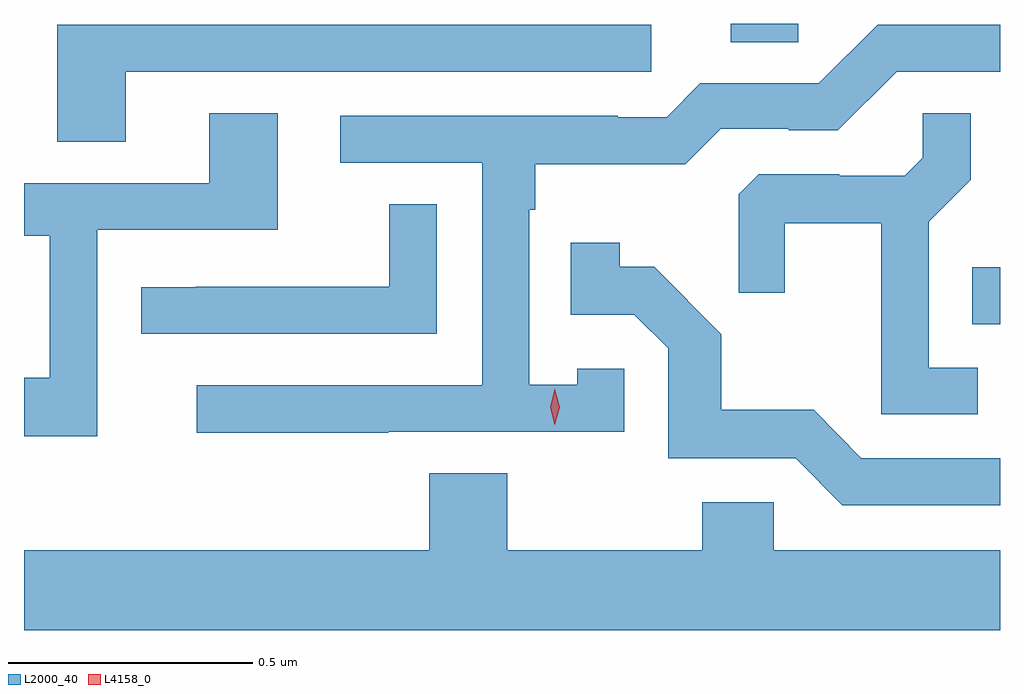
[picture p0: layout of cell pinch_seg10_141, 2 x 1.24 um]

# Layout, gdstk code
import gdstk
lib = gdstk.Library(unit=1e-6, precision=1e-09)
def R(c, l, rs):  # rectangles x0, y0, x1, y1
    for r in rs: c.add(gdstk.rectangle(r[:2], r[2:], *l))
def P(c, l, *ps):  # polygons
    for p in ps: c.add(gdstk.Polygon(p, *l))
L2000_40 = (2000, 40)
L4158_0 = (4158, 0)

pinch_seg10_141 = lib.new_cell('pinch_seg10_141')
R(pinch_seg10_141, L2000_40, [(702.932,1280.963,702.989,1281.079), (702.437,1281.541,702.576,1281.578)])
P(pinch_seg10_141, L2000_40, [(701.735,1280.742),(702.219,1280.742),(702.219,1280.871),(702.123,1280.871),(702.123,1280.839),(702.024,1280.839),(702.024,1281.197),(702.037,1281.197),(702.037,1281.29),(702.344,1281.29),(702.417,1281.363),(702.556,1281.363),(702.556,1281.36),(702.657,1281.36),(702.777,1281.48),(702.989,1281.48),(702.989,1281.576),(702.738,1281.576),(702.618,1281.456),(702.375,1281.456),(702.306,1281.387),(702.206,1281.387),(702.206,1281.39),(701.637,1281.39),(701.637,1281.294),(701.928,1281.294),(701.928,1280.838),(701.343,1280.838),(701.343,1280.74),(701.735,1280.74)],
  [(701.197,1281.48),(702.274,1281.48),(702.274,1281.576),(701.057,1281.576),(701.057,1281.337),(701.197,1281.337)],
  [(702.943,1280.874),(702.843,1280.874),(702.843,1281.173),(702.929,1281.259),(702.929,1281.395),(702.831,1281.395),(702.831,1281.304),(702.794,1281.267),(702.66,1281.267),(702.66,1281.27),(702.495,1281.27),(702.454,1281.229),(702.454,1281.027),(702.548,1281.027),(702.548,1281.17),(702.746,1281.17),(702.746,1280.778),(702.943,1280.778)],
  [(701.139,1281.156),(701.509,1281.156),(701.509,1281.395),(701.369,1281.395),(701.369,1281.252),(700.989,1281.252),(700.989,1281.144),(701.042,1281.144),(701.042,1280.853),(700.989,1280.853),(700.989,1280.733),(701.139,1280.733)],
  [(701.835,1281.209),(701.737,1281.209),(701.737,1281.039),(701.341,1281.039),(701.341,1281.038),(701.229,1281.038),(701.229,1280.943),(701.835,1280.943)],
  [(702.989,1280.688),(702.705,1280.688),(702.607,1280.787),(702.418,1280.787),(702.418,1280.942),(702.28,1281.08),(702.21,1281.08),(702.21,1281.13),(702.109,1281.13),(702.109,1280.982),(702.24,1280.982),(702.309,1280.913),(702.309,1280.688),(702.57,1280.688),(702.666,1280.592),(702.989,1280.592)],
  [(702.989,1280.5),(702.525,1280.5),(702.525,1280.598),(702.379,1280.598),(702.379,1280.5),(701.979,1280.5),(701.979,1280.657),(701.819,1280.657),(701.819,1280.5),(700.989,1280.5),(700.989,1280.336),(702.989,1280.336)])
P(pinch_seg10_141, L4158_0, [(702.077,1280.757),(702.077,1280.757),(702.067,1280.793),(702.077,1280.829),(702.077,1280.83),(702.077,1280.829),(702.087,1280.793),(702.077,1280.757)])

lib.write_gds('pinch_seg10_141.gds')
